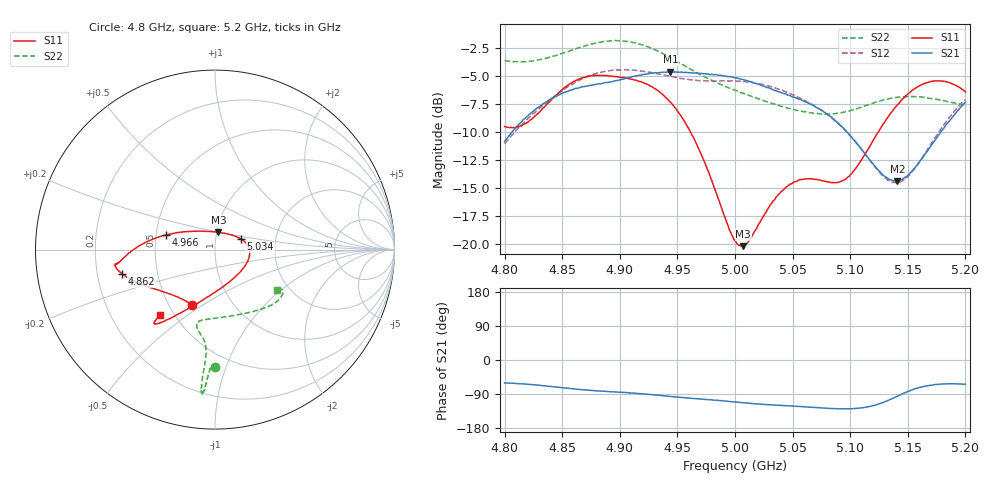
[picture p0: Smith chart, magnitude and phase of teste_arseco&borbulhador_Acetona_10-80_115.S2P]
! Network Analyzer HP8722D
! Hewlett-Packard
! Data name: Linha & Wilkinson
! Saver's name: Rodrigo Anjos
! Comments: Teste da utilização de aquisição
! continua pelo VNA HP8722D
! Time and date: 17/4/2025 15:19
!  Frequency  S11  S21  S12  S22
# HZ  S  MA R 50
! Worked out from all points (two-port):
!   401 points, 4.8 GHz to 5.2 GHz, reference 50 ohm
!   highest |S21| = -4.66 dB at 4.944 GHz (marker M1); lowest = -14.4 dB at 5.141 GHz (marker M2)
!   |S21| within 3 dB of the highest: 4.832 GHz to 5.068 GHz (236.6 MHz wide, 4.78 % of centre); 5.197502 GHz to end of sweep
!   lowest |S11| = -20.2 dB at 5.007 GHz (marker M3), VSWR 1.22, Z = 50.9 + j9.86 ohm
!   |S11| at or under -10 dB: 4.961 GHz to 5.125 GHz (163.3 MHz wide, 3.24 % of centre)
!   |S22| runs from -8.5 to -1.9 dB; largest |S21 - S12| = 0.88
!   S11 on the Smith chart (normalised r, x): 4.8 GHz: 0.65, -0.45; 4.862 GHz: 0.31, -0.12; 4.966 GHz: 0.57, +0.10; 5.034 GHz: 1.33, +0.16; 5.2 GHz: 0.42, -0.39
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4.8e9  0.3333 -113.0  0.286 -60.5  0.2796 -174.8  0.656 -89.9
4.819e9  0.3458 -132.9  0.3673 -63.9  0.3563 -173.3  0.6507 -91.5
4.862e9  0.5352 -165.4  0.4935 -76.8  0.5266 -176.6  0.7419 -93.8
4.867e9  0.548 -167.3  0.501 -78.2  0.5433 -177.5  0.7569 -93.8
4.899e9  0.5538 -171.8  0.5361 -85.0  0.5955 175.8  0.804 -95.2
4.934e9  0.4782 -178.0  0.5797 -93.2  0.572 172.0  0.7187 -95.5
4.944e9  0.4278 177.5  0.5849 -96.2  0.5565 172.0  0.6766 -95.4
4.966e9  0.283 163.1  0.5776 -101.8  0.5359 173.9  0.5827 -94.8
5e9  0.1033 103.1  0.5494 -111.0  0.5323 176.4  0.4838 -99.0
5.007e9  0.09762 79.0  0.54 -112.8  0.5286 176.3  0.4688 -100.7
5.013e9  0.1051 60.1  0.5291 -114.3  0.5232 176.0  0.4569 -101.9
5.034e9  0.1564 21.8  0.4842 -119.0  0.4978 175.0  0.4204 -103.4
5.05e9  0.1867 5.4  0.4517 -121.7  0.4616 174.3  0.3982 -99.6
5.067e9  0.1948 -12.6  0.4169 -124.8  0.4184 173.9  0.3833 -91.0
5.087e9  0.1871 -44.7  0.3537 -128.4  0.3518 173.8  0.3808 -75.7
5.097e9  0.196 -65.4  0.3154 -128.8  0.3154 174.6  0.3889 -67.5
5.134e9  0.3743 -116.0  0.1939 -105.2  0.1909 -158.1  0.4442 -43.0
5.141e9  0.4162 -119.8  0.1906 -95.4  0.1875 -147.1  0.4501 -39.9
5.153e9  0.4794 -124.8  0.2094 -79.7  0.2077 -128.9  0.4536 -35.6
5.17e9  0.5287 -128.5  0.2725 -66.4  0.2779 -112.5  0.445 -31.8
5.184e9  0.5266 -129.8  0.3432 -62.9  0.3545 -107.1  0.4312 -30.9
5.2e9  0.4759 -130.2  0.4273 -64.2  0.4393 -106.2  0.4148 -33.1
